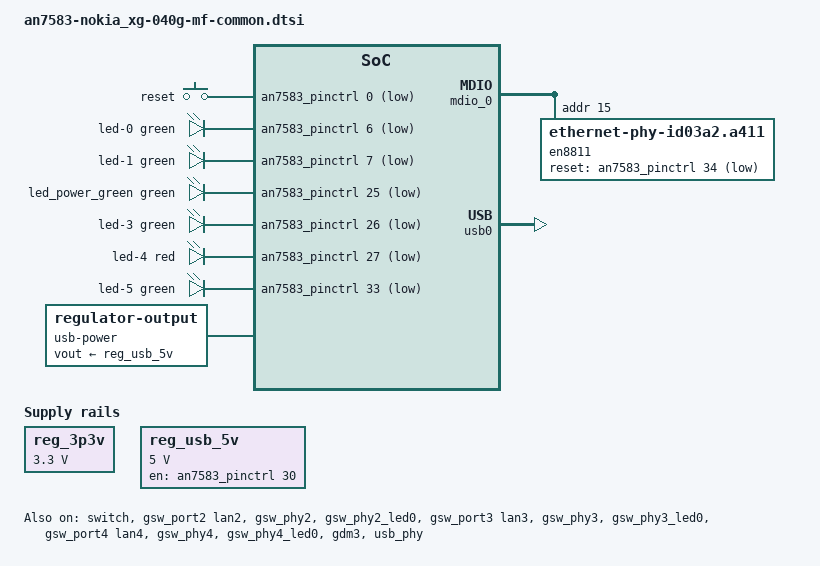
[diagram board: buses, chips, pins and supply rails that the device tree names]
// SPDX-License-Identifier: GPL-2.0-only OR MIT

/dts-v1/;
#include <dt-bindings/leds/common.h>
#include <dt-bindings/gpio/gpio.h>
#include <dt-bindings/input/input.h>
#include "an7583.dtsi"
#include "an758x-nokia_xg-040g-common.dtsi"

/ {
	gpio-keys {
		compatible = "gpio-keys";

		button-0 {
			label = "reset";
			linux,code = <KEY_RESTART>;
			gpios = <&an7583_pinctrl 0 GPIO_ACTIVE_LOW>;
			debounce-interval = <60>;
		};
	};

	leds {
		compatible = "gpio-leds";

		led-0 {
			color = <LED_COLOR_ID_GREEN>;
			function = LED_FUNCTION_WAN;
			gpios = <&an7583_pinctrl 6 GPIO_ACTIVE_LOW>;
		};

		led-1 {
			color = <LED_COLOR_ID_GREEN>;
			function = LED_FUNCTION_WAN_ONLINE;
			gpios = <&an7583_pinctrl 7 GPIO_ACTIVE_LOW>;
		};

		led_power_green: led-2 {
			color = <LED_COLOR_ID_GREEN>;
			function = LED_FUNCTION_POWER;
			gpios = <&an7583_pinctrl 25 GPIO_ACTIVE_LOW>;
			panic-indicator;
		};

		led-3 {
			color = <LED_COLOR_ID_GREEN>;
			function = LED_FUNCTION_USB;
			function-enumerator = <1>;
			gpios = <&an7583_pinctrl 26 GPIO_ACTIVE_LOW>;
			linux,default-trigger = "usbport";
			trigger-sources = <&usb_port1>;
		};

		led-4 {
			color = <LED_COLOR_ID_RED>;
			function = LED_FUNCTION_WAN;
			gpios = <&an7583_pinctrl 27 GPIO_ACTIVE_LOW>;
		};

		led-5 {
			color = <LED_COLOR_ID_GREEN>;
			function = LED_FUNCTION_USB;
			function-enumerator = <2>;
			gpios = <&an7583_pinctrl 33 GPIO_ACTIVE_LOW>;
			linux,default-trigger = "usbport";
			trigger-sources = <&usb_port2>;
		};
	};

	reg_3p3v: regulator-3p3v {
		compatible = "regulator-fixed";
		regulator-always-on;
		regulator-boot-on;
		regulator-max-microvolt = <3300000>;
		regulator-min-microvolt = <3300000>;
		regulator-name = "fixed-3.3V";
	};

	reg_usb_5v: regulator-usb-5v {
		compatible = "regulator-fixed";
		enable-active-high;
		gpio = <&an7583_pinctrl 30 GPIO_ACTIVE_HIGH>;
		regulator-boot-on;
		regulator-max-microvolt = <5000000>;
		regulator-min-microvolt = <5000000>;
		regulator-name = "usb-5v";
	};

	/*
	 * Controls both USB ports at once
	 */
	usb-power {
		compatible = "regulator-output";
		vout-supply = <&reg_usb_5v>;
	};
};

&an7583_pinctrl {
	gpio-ranges = <&an7583_pinctrl 0 2 53>;

	mdio0_pins: mdio0-pins {
		mux {
			function = "mdio";
			groups = "mdio";
		};
		conf {
			pins = "mdio_0";
			output-high;
		};
	};

	spi_pins: spi-pins {
		mux {
			function = "spi";
			groups = "spi";
		};
	};

	pcie0_rst_pins: pcie0-rst-pins {
		conf {
			pins = "pcie_reset0";
			drive-open-drain = <1>;
		};
	};

	pcie1_rst_pins: pcie1-rst-pins {
		conf {
			pins = "pcie_reset1";
			drive-open-drain = <1>;
		};
	};

	gswp1_led0_pins: gswp1-led0-pins {
		mux {
			function = "phy1_led0";
			pins = "gpio1";
		};
	};

	gswp2_led0_pins: gswp2-led0-pins {
		mux {
			function = "phy2_led0";
			pins = "gpio2";
		};
	};

	gswp3_led0_pins: gswp3-led0-pins {
		mux {
			function = "phy3_led0";
			pins = "gpio3";
		};
	};

	gswp4_led0_pins: gswp4-led0-pins {
		mux {
			function = "phy4_led0";
			pins = "gpio4";
		};
	};
};

&snfi {
	pinctrl-names = "default";
	pinctrl-0 = <&spi_pins>;
};

&mdio_0 {
	/* Airoha EN8811 2.5Gbps phy */
	en8811: ethernet-phy@f {
		compatible = "ethernet-phy-id03a2.a411";
		reg = <0xf>;

		reset-gpios = <&an7583_pinctrl 34 GPIO_ACTIVE_LOW>;
		reset-assert-us = <10000>;
		reset-deassert-us = <20000>;

		leds {
			#address-cells = <1>;
			#size-cells = <0>;

			led-0 {
				reg = <0>;
				color = <LED_COLOR_ID_GREEN>;
				function = LED_FUNCTION_LAN;
				function-enumerator = <1>;
				default-state = "keep";
			};
		};
	};
};

&switch {
	status = "okay";

	pinctrl-names = "default";
	pinctrl-0 = <&mdio0_pins>;
};

&gsw_port2 {
	status = "okay";

	label = "lan2";
};

&gsw_phy2 {
	status = "okay";

	interrupts = <2>;

	pinctrl-names = "gbe-led";
	pinctrl-0 = <&gswp2_led0_pins>;
};

&gsw_phy2_led0 {
	status = "okay";

	color = <LED_COLOR_ID_GREEN>;
	active-low;
};

&gsw_port3 {
	status = "okay";

	label = "lan3";
};

&gsw_phy3 {
	status = "okay";

	interrupts = <3>;

	pinctrl-names = "gbe-led";
	pinctrl-0 = <&gswp3_led0_pins>;
};

&gsw_phy3_led0 {
	status = "okay";

	color = <LED_COLOR_ID_GREEN>;
	active-low;
};

&gsw_port4 {
	status = "okay";

	label = "lan4";
};

&gsw_phy4 {
	status = "okay";

	interrupts = <4>;

	pinctrl-names = "gbe-led";
	pinctrl-0 = <&gswp4_led0_pins>;
};

&gsw_phy4_led0 {
	status = "okay";

	color = <LED_COLOR_ID_GREEN>;
	active-low;
};

&gdm3 {
	status = "okay";

	openwrt,netdev-name = "lan1";

	phy-handle = <&en8811>;
	phy-mode = "2500base-x";

	nvmem-cell-names = "mac-address";
	nvmem-cells = <&macaddr_factory_3e (0)>;
};

&usb_phy {
	status = "okay";
};

&usb0 {
	status = "okay";

	vusb33-supply = <&reg_3p3v>;

	#address-cells = <1>;
	#size-cells = <0>;

	usb_port1: port@1 {
		reg = <1>;
		#trigger-source-cells = <0>;
	};

	usb_port2: port@2 {
		reg = <2>;
		#trigger-source-cells = <0>;
	};
};
